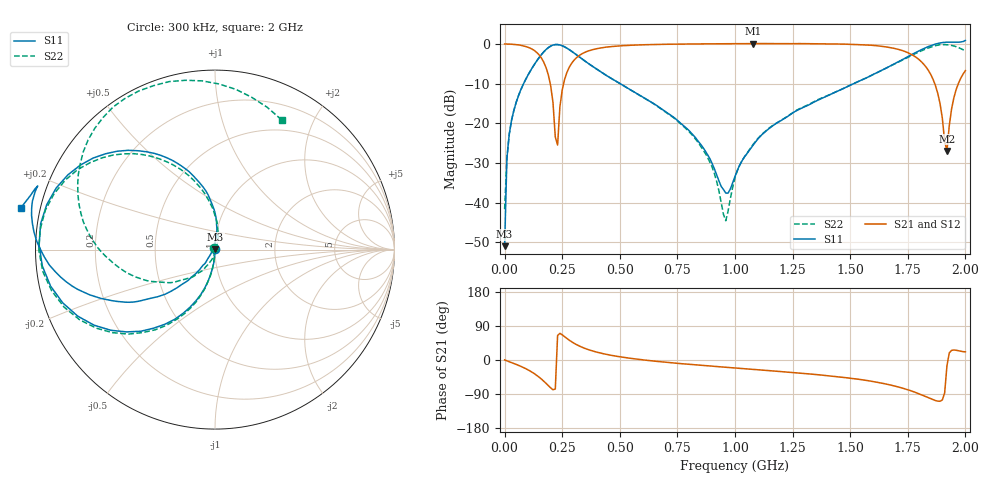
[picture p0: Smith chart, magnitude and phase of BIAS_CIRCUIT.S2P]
!Agilent Technologies,E5071C,MY46520295,B.13.20
!Date: Fri Feb 23 07:22:27 2024
!Data & Calibration Information:
!Freq	S11:SOLT2(ON)	S21:SOLT2(ON)	S12:SOLT2(ON)	S22:SOLT2(ON)
!PortZ  Port1:50+j0  Port2:50+j0
!Above PortZ is port z conversion or system Z0 setting when saving the data.
!When reading, reference impedance value at option line is always used.
# Hz S RI R 50
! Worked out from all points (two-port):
!   201 points, 300 kHz to 2 GHz, reference 50 ohm
!   highest |S21| = 0.09 dB at 1.08 GHz (marker M1); lowest = -27.0 dB at 1.92 GHz (marker M2)
!   |S21| within 3 dB of the highest: start of sweep to 151.9 MHz; 324.9 MHz to 1.773 GHz (1.449 GHz wide, 138 % of centre)
!   lowest |S11| = -51.0 dB at 300 kHz (marker M3), VSWR 1.01, Z = 50.2 + j0.175 ohm
!   |S11| at or under -10 dB: start of sweep to 82.88 MHz; 501.4 MHz to 1.516 GHz (1.014 GHz wide, 101 % of centre)
!   |S22| runs from -44.6 to -0.2 dB; largest |S21 - S12| = 0.0052
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300000  0.00222 0.00174  0.9992 0.00411  1.003 5.74e-05  -0.00516 0.00645
1.02985e7  -0.00231 -0.0361  0.9965 -0.0396  0.9974 -0.0399  -0.0022 -0.0359
2.0297e7  -0.00636 -0.0719  0.992 -0.0792  0.9932 -0.0798  -0.00776 -0.072
7.02895e7  -0.0796 -0.251  0.9205 -0.2752  0.9208 -0.2757  -0.0763 -0.2504
1.80273e8  -0.7647 -0.3708  0.238 -0.442  0.238 -0.4426  -0.7548 -0.3906
2.0027e8  -0.9164 -0.2029  0.0838 -0.2846  0.0838 -0.285  -0.9103 -0.2291
2.302655e8  -0.9713 0.1448  0.0227 0.0481  0.0228 0.0481  -0.9745 0.1106
2.40264e8  -0.937 0.2516  0.0543 0.1515  0.0543 0.1519  -0.9458 0.2187
2.60261e8  -0.8197 0.4164  0.1674 0.3109  0.168 0.3111  -0.8345 0.3868
3.40249e8  -0.3384 0.5361  0.6412 0.4118  0.6424 0.4113  -0.3619 0.5211
6.701995e8  0.0082 0.1594  0.9832 -0.0718  0.984 -0.0724  0.00968 0.1577
8.701695e8  0.00109 0.0452  0.9674 -0.2571  0.9682 -0.2581  0.0138 0.0399
9.60156e8  -0.0116 0.00629  0.9497 -0.331  0.951 -0.3321  0.00562 -0.00182
1.00015e9  -0.0178 -0.0117  0.9397 -0.362  0.9404 -0.3628  -0.00118 -0.0206
1.080138e9  -0.0342 -0.0414  0.9177 -0.4233  0.9187 -0.424  -0.0158 -0.0524
1.340099e9  -0.1158 -0.1417  0.797 -0.6157  0.7975 -0.6171  -0.1138 -0.1461
1.67005e9  -0.4331 -0.2892  0.3769 -0.82  0.3764 -0.8214  -0.504 -0.1212
1.850022e9  -0.9506 -0.0413  -0.0872 -0.4006  -0.0878 -0.4012  -0.7345 0.5436
1.890016e9  -1.017 0.1445  -0.0572 -0.1675  -0.0576 -0.1677  -0.5679 0.7943
1.920012e9  -1.017 0.2689  0.0433 -0.0117  0.0433 -0.0118  -0.3436 0.9131
1.950008e9  -0.993 0.3448  0.1877 0.0934  0.188 0.0933  -0.0713 0.94
2e9  -1.081 0.2339  0.4283 0.1695  0.4288 0.1687  0.373 0.7212
